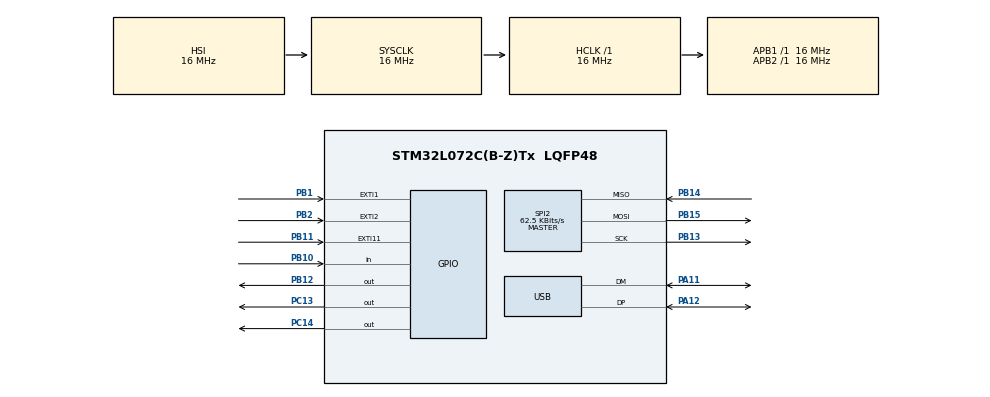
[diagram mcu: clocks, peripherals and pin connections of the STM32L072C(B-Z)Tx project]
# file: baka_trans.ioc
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Mcu.Family=STM32L0
Mcu.Name=STM32L072C(B-Z)Tx
Mcu.Package=LQFP48
NVIC.EXTI0_1_IRQn=true\:0\:0\:false\:false\:true\:true\:true\:true
NVIC.EXTI2_3_IRQn=true\:0\:0\:false\:false\:true\:true\:true\:true
NVIC.EXTI4_15_IRQn=true\:0\:0\:false\:false\:true\:true\:true\:true
NVIC.USB_IRQn=true\:0\:0\:false\:false\:true\:false\:true\:true
PA11.Mode=Device
PA11.Signal=USB_DM
PA12.Mode=Device
PA12.Signal=USB_DP
PB1.Signal=GPXTI1
PB10.Signal=GPIO_Input
PB11.Signal=GPXTI11
PB12.Signal=GPIO_Output
PB13.Mode=Full_Duplex_Master
PB13.Signal=SPI2_SCK
PB14.Mode=Full_Duplex_Master
PB14.Signal=SPI2_MISO
PB15.Mode=Full_Duplex_Master
PB15.Signal=SPI2_MOSI
PB2.Signal=GPXTI2
PC13.Signal=GPIO_Output
PC14-OSC32_IN.Signal=GPIO_Output
ProjectManager.HeapSize=0x200
ProjectManager.StackSize=0x400
ProjectManager.TargetToolchain=STM32CubeIDE
RCC.AHBFreq_Value=16000000
RCC.APB1Freq_Value=16000000
RCC.APB1TimFreq_Value=16000000
RCC.APB2Freq_Value=16000000
RCC.APB2TimFreq_Value=16000000
RCC.HCLKFreq_Value=16000000
RCC.HSE_VALUE=8000000
RCC.HSI16_VALUE=16000000
RCC.HSI48MClockSelection=RCC_USBCLKSOURCE_HSI48
RCC.HSI48_VALUE=48000000
RCC.HSI_VALUE=16000000
RCC.LSE_VALUE=32768
RCC.MSI_VALUE=2097000
RCC.PLLMUL=RCC_PLLMUL_6
RCC.SYSCLKFreq_VALUE=16000000
RCC.SYSCLKSource=RCC_SYSCLKSOURCE_HSI
RCC.VCOOutputFreq_Value=96000000
SPI2.BaudRatePrescaler=SPI_BAUDRATEPRESCALER_256
SPI2.CalculateBaudRate=62.5 KBits/s
SPI2.DataSize=SPI_DATASIZE_8BIT
SPI2.Direction=SPI_DIRECTION_2LINES
SPI2.Mode=SPI_MODE_MASTER
SPI2.VirtualType=VM_MASTER
USB.low_power_enable=DISABLE
USB_DEVICE.CLASS_NAME_FS=CDC
USB_DEVICE.VirtualMode=Cdc
USB_DEVICE.VirtualModeFS=Cdc_FS
VP_USB_DEVICE_VS_USB_DEVICE_CDC_FS.Mode=CDC_FS
board=custom

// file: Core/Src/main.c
/* USER CODE BEGIN Header */
/**
  ******************************************************************************
  * @file           : main.c
  * @brief          : Main program body
  ******************************************************************************
  * @attention
  *
  * Copyright (c) 2023 STMicroelectronics.
  * All rights reserved.
  *
  * This software is licensed under terms that can be found in the LICENSE file
  * in the root directory of this software component.
  * If no LICENSE file comes with this software, it is provided AS-IS.
  *
  ******************************************************************************
  */
/* USER CODE END Header */
#include "main.h"
#include "spi.h"
#include "usb_device.h"
#include "gpio.h"

/* USER CODE BEGIN Includes */
#include "log.h"
#include "usbd_cdc_if.h"
#include "string.h"
#include "sx1262.h"
#include "messenger.h"
/* USER CODE END Includes */

/* USER CODE BEGIN PTD */
typedef void (*MessageHandler)(const char*);
void masterCommandHandler(uint16_t bytesAvailable);

/* USER CODE END PTD */

/* USER CODE BEGIN PM */

#define USB_CDC_BUFFER_LEN 0xFF
/* USER CODE END PM */

void SystemClock_Config(void);

/* USER CODE BEGIN 0 */
typedef struct {
    char* command;
    MessageHandler handler;
} CommandEntry;

// Define a table of command entries
CommandEntry commandTable[] = {
		// Debug commands
    {"status", sx1262_get_status_log},
	{"standby", sx1262_standby_rc},
	{"receive", sx1262_receive},
	{"raw-transmit", sx1262_transmit},
	{"transmit", radio_transmit},
	{"buffer-read", sx1262_buffer_read},
	{"buffer-status", sx1262_buffer_status},
	{"packet-stats", sx1262_packet_stats},
	{"lora-packet-status", sx1262_lora_packet_status},
	{"irq", sx1262_get_irq_status},
	{"errors", sx1262_get_device_errors},
	{"cad", sx1262_channel_actitity_detection},
	{"clear-irq", sx1262_clear_irq_all},
    // Transceiver commands
	{"transmit-get-data", get_site_data},
	{"transmit-get-battery-state", get_site_battery_state},
	{"transmit-ping", ping},
	{"transmit-sync-rtc", sync_rtc}
};

/* USER CODE END 0 */

int main(void)
{

  /* MCU Configuration--------------------------------------------------------*/

  /* Reset of all peripherals, Initializes the Flash interface and the Systick. */
  HAL_Init();

  /* Configure the system clock */
  SystemClock_Config();

  /* Initialize all configured peripherals */
  MX_GPIO_Init();
  MX_SPI2_Init();
  MX_USB_DEVICE_Init();
  /* USER CODE BEGIN 2 */

  uint16_t bytesAvailable;
  startup_sequence();
  /* USER CODE END 2 */

  /* Infinite loop */
  while (1)
  {

    /* USER CODE BEGIN 3 */

	  if ((bytesAvailable = CDC_GetRxBufferBytesAvailable_FS()) > 0) {
		  masterCommandHandler(bytesAvailable);
	  }
	  if(rxDone){
		  rxDone = 0;
		  sx1262_clear_irq(SX126X_IRQ_RX_DONE);
		  LOG_TRACE("RX Done");

		  radio_message_processor();
	  }
	  if(txDone){
		  txDone = 0;
		  sx1262_clear_irq(SX126X_IRQ_TX_DONE);
		  LOG_TRACE("TX Done");
	  }

  }
  /* USER CODE END 3 */
}

void SystemClock_Config(void)
{
  RCC_OscInitTypeDef RCC_OscInitStruct = {0};
  RCC_ClkInitTypeDef RCC_ClkInitStruct = {0};
  RCC_PeriphCLKInitTypeDef PeriphClkInit = {0};

  /** Configure the main internal regulator output voltage
  */
  __HAL_PWR_VOLTAGESCALING_CONFIG(PWR_REGULATOR_VOLTAGE_SCALE1);

  /** Initializes the RCC Oscillators according to the specified parameters
  * in the RCC_OscInitTypeDef structure.
  */
  RCC_OscInitStruct.OscillatorType = RCC_OSCILLATORTYPE_HSI|RCC_OSCILLATORTYPE_HSI48;
  RCC_OscInitStruct.HSIState = RCC_HSI_ON;
  RCC_OscInitStruct.HSICalibrationValue = RCC_HSICALIBRATION_DEFAULT;
  RCC_OscInitStruct.HSI48State = RCC_HSI48_ON;
  RCC_OscInitStruct.PLL.PLLState = RCC_PLL_NONE;
  if (HAL_RCC_OscConfig(&RCC_OscInitStruct) != HAL_OK)
  {
    Error_Handler();
  }

  /** Initializes the CPU, AHB and APB buses clocks
  */
  RCC_ClkInitStruct.ClockType = RCC_CLOCKTYPE_HCLK|RCC_CLOCKTYPE_SYSCLK
                              |RCC_CLOCKTYPE_PCLK1|RCC_CLOCKTYPE_PCLK2;
  RCC_ClkInitStruct.SYSCLKSource = RCC_SYSCLKSOURCE_HSI;
  RCC_ClkInitStruct.AHBCLKDivider = RCC_SYSCLK_DIV1;
  RCC_ClkInitStruct.APB1CLKDivider = RCC_HCLK_DIV1;
  RCC_ClkInitStruct.APB2CLKDivider = RCC_HCLK_DIV1;

  if (HAL_RCC_ClockConfig(&RCC_ClkInitStruct, FLASH_LATENCY_0) != HAL_OK)
  {
    Error_Handler();
  }
  PeriphClkInit.PeriphClockSelection = RCC_PERIPHCLK_USB;
  PeriphClkInit.UsbClockSelection = RCC_USBCLKSOURCE_HSI48;
  if (HAL_RCCEx_PeriphCLKConfig(&PeriphClkInit) != HAL_OK)
  {
    Error_Handler();
  }
}

/* USER CODE BEGIN 4 */

void masterCommandHandler(uint16_t bytesAvailable){

	// USB receive buffer
	char rxData[USB_CDC_BUFFER_LEN];
	memset(rxData, 0, USB_CDC_BUFFER_LEN);

	// USB command and argument buffers
	char command[sizeof(rxData)];
	char argument[sizeof(rxData)];

	uint16_t bytesToRead = bytesAvailable >= USB_CDC_BUFFER_LEN ? USB_CDC_BUFFER_LEN : bytesAvailable;

	if (CDC_ReadRxBuffer_FS(rxData, bytesToRead) == USB_CDC_RX_BUFFER_OK) {
		//while (CDC_Transmit_FS(rxData, bytesToRead) == USBD_BUSY);
		rxData[bytesToRead] = '\0';
		char value[sizeof(rxData)];
		for (size_t i = 0; i < sizeof(rxData); i++) {
			value[i] = (char)rxData[i];
		}

		separate_string(rxData, command, argument);
		LOG_TRACE("command: %s - argument: %s", command, argument);

		executeCommand(command, argument);
	}
}

void executeCommand(const char* command, const char* argument) {
    // Iterate through the command table
    for (size_t i = 0; i < sizeof(commandTable) / sizeof(commandTable[0]); i++) {
        // Check if the command matches any entry in the command table
        if (strcmp(command, commandTable[i].command) == 0) {
            // Call the corresponding handler function
            commandTable[i].handler(argument);
            return;
        }
    }
    // If no matching command is found
    LOG_TRACE("Unknown command: %s\n", command);
}
/* USER CODE END 4 */

void Error_Handler(void)
{
  __disable_irq();
  while (1)
  {
  }
}
